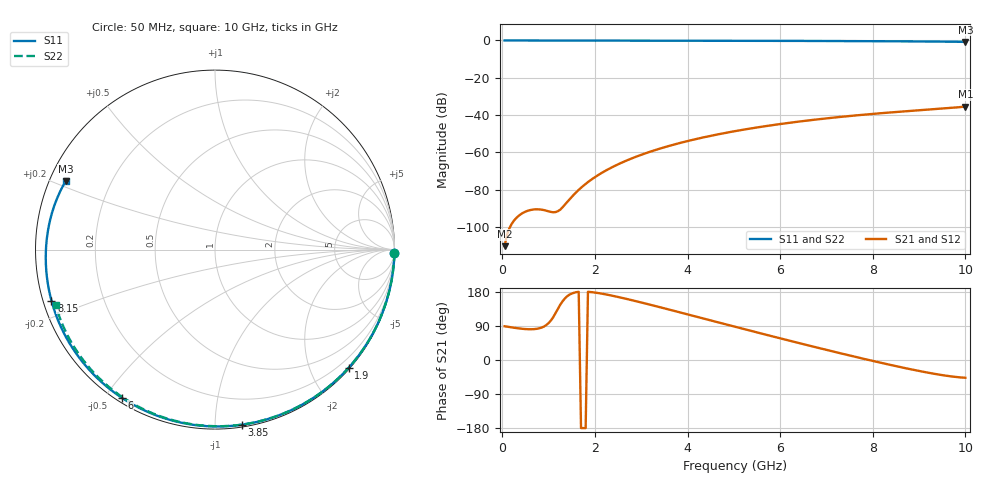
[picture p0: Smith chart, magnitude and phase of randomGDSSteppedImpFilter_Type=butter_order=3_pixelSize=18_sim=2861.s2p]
! freq	dB(S11)	phase(S11)	dB(S12)	phase(S12)
!  dB(S21)	phase(S21)	dB(S22)	phase(S22)
!S-par simulation data
#  GHz  S  DB  R 50
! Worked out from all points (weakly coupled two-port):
!   200 points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, 50 MHz to 10 GHz, reference 50 ohm
!   highest |S21| = -35.44 dB at 10 GHz (marker M1); lowest = -110.3 dB at 50 MHz (marker M2)
!   lowest |S11| = -0.8 dB at 10 GHz (marker M3), VSWR 22.51, Z = 2.33 + j10.9 ohm
!   |S11| at or under -10 dB: nowhere
!   |S22| runs from -0.5 to 0.0 dB; largest |S21 - S12| = 0
!   S11 on the Smith chart (normalised r, x): 50 MHz: open; 1.9 GHz: 0.02, -2.64; 3.85 GHz: 0.02, -1.17; 6 GHz: 0.02, -0.55; 8.15 GHz: 0.02, -0.15; 10 GHz: 0.05, +0.22
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0.05  -0.00 -1.1  -110.29 89.0  -110.29 89.0  -0.00 -0.9
0.45  -0.01 -10.0  -92.39 82.1  -92.39 82.1  -0.01 -8.5
0.85  -0.02 -18.8  -90.72 85.6  -90.72 85.6  -0.02 -15.9
1.65  -0.05 -36.1  -80.10 179.8  -80.10 179.8  -0.04 -30.6
1.75  -0.05 -38.3  -77.91 -179.5  -77.91 -179.5  -0.04 -32.4
1.9  -0.05 -41.4  -75.01 179.4  -75.01 179.4  -0.05 -35.2
2.2  -0.06 -47.8  -70.25 174.0  -70.25 174.0  -0.05 -40.5
2.55  -0.07 -55.1  -65.84 165.0  -65.84 165.0  -0.06 -46.7
2.95  -0.08 -63.3  -61.76 153.3  -61.76 153.3  -0.07 -53.7
3.4  -0.10 -72.4  -58.01 139.5  -58.01 139.5  -0.08 -61.4
3.85  -0.11 -81.3  -54.88 125.2  -54.88 125.2  -0.09 -69.0
4.45  -0.13 -92.9  -51.40 106.1  -51.40 106.1  -0.11 -78.8
5.05  -0.16 -104.3  -48.51 87.0  -48.51 87.0  -0.14 -88.3
6  -0.22 -122.1  -44.82 57.2  -44.82 57.2  -0.18 -102.9
6.7  -0.27 -135.0  -42.61 35.7  -42.61 35.7  -0.22 -113.3
7.45  -0.33 -149.1  -40.62 13.4  -40.62 13.4  -0.27 -124.3
8.15  -0.40 -162.7  -39.06 -6.6  -39.06 -6.6  -0.33 -134.3
8.35  -0.43 -166.7  -38.66 -12.1  -38.66 -12.1  -0.35 -137.2
8.8  -0.49 -176.0  -37.81 -24.0  -37.81 -24.0  -0.40 -143.6
9.25  -0.56 174.2  -37.00 -34.7  -37.00 -34.7  -0.44 -150.0
9.65  -0.65 164.6  -36.25 -42.6  -36.25 -42.6  -0.49 -155.8
10  -0.77 155.4  -35.44 -46.9  -35.44 -46.9  -0.54 -160.9
